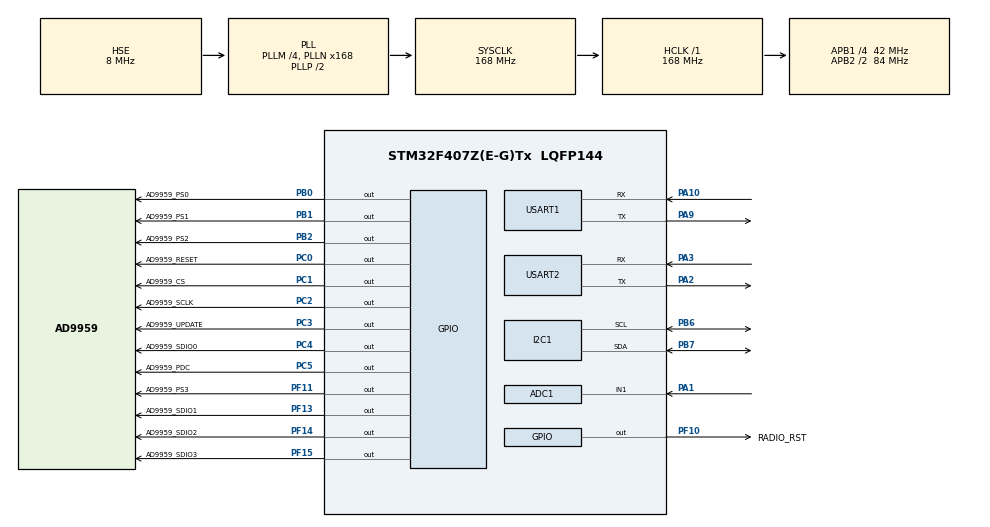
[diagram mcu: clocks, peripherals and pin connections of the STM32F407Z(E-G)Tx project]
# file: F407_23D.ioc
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ADC1.Channel-0\#ChannelRegularConversion=ADC_CHANNEL_1
ADC1.ExternalTrigConv=ADC_EXTERNALTRIGCONV_T3_TRGO
ADC1.NbrOfConversionFlag=1
ADC1.Rank-0\#ChannelRegularConversion=1
ADC1.SamplingTime-0\#ChannelRegularConversion=ADC_SAMPLETIME_3CYCLES
ADC1.master=1
Dma.ADC1.0.Direction=DMA_PERIPH_TO_MEMORY
Dma.ADC1.0.FIFOMode=DMA_FIFOMODE_DISABLE
Dma.ADC1.0.Instance=DMA2_Stream0
Dma.ADC1.0.MemDataAlignment=DMA_MDATAALIGN_HALFWORD
Dma.ADC1.0.MemInc=DMA_MINC_ENABLE
Dma.ADC1.0.Mode=DMA_NORMAL
Dma.ADC1.0.PeriphDataAlignment=DMA_PDATAALIGN_HALFWORD
Dma.ADC1.0.PeriphInc=DMA_PINC_DISABLE
Dma.ADC1.0.Priority=DMA_PRIORITY_LOW
Dma.Request0=ADC1
Mcu.Family=STM32F4
Mcu.Name=STM32F407Z(E-G)Tx
Mcu.Package=LQFP144
NVIC.DMA2_Stream0_IRQn=true\:0\:0\:false\:false\:true\:false\:true\:true
NVIC.PriorityGroup=NVIC_PRIORITYGROUP_4
NVIC.USART2_IRQn=true\:0\:0\:false\:false\:true\:true\:true\:true
PA1.Signal=ADCx_IN1
PA10.Mode=Asynchronous
PA10.Signal=USART1_RX
PA13.Mode=Serial_Wire
PA13.Signal=SYS_JTMS-SWDIO
PA14.Mode=Serial_Wire
PA14.Signal=SYS_JTCK-SWCLK
PA2.Mode=Asynchronous
PA2.Signal=USART2_TX
PA3.Mode=Asynchronous
PA3.Signal=USART2_RX
PA9.Mode=Asynchronous
PA9.Signal=USART1_TX
PB0.GPIO_Label=AD9959_PS0
PB0.GPIO_Speed=GPIO_SPEED_FREQ_VERY_HIGH
PB0.Signal=GPIO_Output
PB1.GPIO_Label=AD9959_PS1
PB1.GPIO_Speed=GPIO_SPEED_FREQ_VERY_HIGH
PB1.Signal=GPIO_Output
PB2.GPIO_Label=AD9959_PS2
PB2.GPIO_Speed=GPIO_SPEED_FREQ_VERY_HIGH
PB2.Signal=GPIO_Output
PB6.Mode=I2C
PB6.Signal=I2C1_SCL
PB7.Mode=I2C
PB7.Signal=I2C1_SDA
PC0.GPIO_Label=AD9959_RESET
PC0.GPIO_Speed=GPIO_SPEED_FREQ_VERY_HIGH
PC0.Signal=GPIO_Output
PC1.GPIO_Label=AD9959_CS
PC1.GPIO_Speed=GPIO_SPEED_FREQ_VERY_HIGH
PC1.PinState=GPIO_PIN_SET
PC1.Signal=GPIO_Output
PC14-OSC32_IN.Mode=LSE-External-Oscillator
PC14-OSC32_IN.Signal=RCC_OSC32_IN
PC15-OSC32_OUT.Mode=LSE-External-Oscillator
PC15-OSC32_OUT.Signal=RCC_OSC32_OUT
PC2.GPIO_Label=AD9959_SCLK
PC2.GPIO_Speed=GPIO_SPEED_FREQ_VERY_HIGH
PC2.Signal=GPIO_Output
PC3.GPIO_Label=AD9959_UPDATE 
PC3.GPIO_Speed=GPIO_SPEED_FREQ_VERY_HIGH
PC3.Signal=GPIO_Output
PC4.GPIO_Label=AD9959_SDIO0
PC4.GPIO_Speed=GPIO_SPEED_FREQ_VERY_HIGH
PC4.Signal=GPIO_Output
PC5.GPIO_Label=AD9959_PDC
PC5.GPIO_Speed=GPIO_SPEED_FREQ_VERY_HIGH
PC5.Signal=GPIO_Output
PF10.GPIO_Label=RADIO_RST
PF10.PinState=GPIO_PIN_SET
PF10.Signal=GPIO_Output
PF11.GPIO_Label=AD9959_PS3
PF11.GPIO_Speed=GPIO_SPEED_FREQ_VERY_HIGH
PF11.Signal=GPIO_Output
PF13.GPIO_Label=AD9959_SDIO1
PF13.GPIO_Speed=GPIO_SPEED_FREQ_VERY_HIGH
PF13.Signal=GPIO_Output
PF14.GPIO_Label=AD9959_SDIO2
PF14.GPIO_Speed=GPIO_SPEED_FREQ_VERY_HIGH
PF14.Signal=GPIO_Output
PF15.GPIO_Label=AD9959_SDIO3
PF15.GPIO_Speed=GPIO_SPEED_FREQ_VERY_HIGH
PF15.Signal=GPIO_Output
PH0-OSC_IN.Mode=HSE-External-Oscillator
PH0-OSC_IN.Signal=RCC_OSC_IN
PH1-OSC_OUT.Mode=HSE-External-Oscillator
PH1-OSC_OUT.Signal=RCC_OSC_OUT
ProjectManager.HeapSize=0x200
ProjectManager.StackSize=0x400
ProjectManager.TargetToolchain=MDK-ARM V5.32
RCC.48MHZClocksFreq_Value=84000000
RCC.AHBFreq_Value=168000000
RCC.APB1CLKDivider=RCC_HCLK_DIV4
RCC.APB1Freq_Value=42000000
RCC.APB1TimFreq_Value=84000000
RCC.APB2CLKDivider=RCC_HCLK_DIV2
RCC.APB2Freq_Value=84000000
RCC.APB2TimFreq_Value=168000000
RCC.CortexFreq_Value=168000000
RCC.HCLKFreq_Value=168000000
RCC.HSE_VALUE=8000000
RCC.HSI_VALUE=16000000
RCC.PLLM=4
RCC.PLLN=168
RCC.PLLSourceVirtual=RCC_PLLSOURCE_HSE
RCC.SYSCLKFreq_VALUE=168000000
RCC.SYSCLKSource=RCC_SYSCLKSOURCE_PLLCLK
RCC.VCOOutputFreq_Value=336000000
SH.ADCx_IN1.0=ADC1_IN1,IN1
TIM3.AutoReloadPreload=TIM_AUTORELOAD_PRELOAD_ENABLE
TIM3.Period=167
TIM3.TIM_MasterOutputTrigger=TIM_TRGO_UPDATE
USART1.VirtualMode=VM_ASYNC
USART2.VirtualMode=VM_ASYNC
VP_TIM3_VS_ClockSourceINT.Mode=Internal
board=custom

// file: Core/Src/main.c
/* USER CODE BEGIN Header */
/**
  ******************************************************************************
  * @file           : main.c
  * @brief          : Main program body
  ******************************************************************************
  * @attention
  *
  * Copyright (c) 2026 STMicroelectronics.
  * All rights reserved.
  *
  * This software is licensed under terms that can be found in the LICENSE file
  * in the root directory of this software component.
  * If no LICENSE file comes with this software, it is provided AS-IS.
  *
  ******************************************************************************
  */
/* USER CODE END Header */
#include "main.h"
#include "adc.h"
#include "dma.h"
#include "i2c.h"
#include "tim.h"
#include "usart.h"
#include "gpio.h"

/* USER CODE BEGIN Includes */
#include "si4732.h"
#include "i2c.h"
#include "myFFT.h"
#include "2023Diansai_DSP.h"
#include <stdio.h>
#include "ad9959.h"
/* USER CODE END Includes */

/* USER CODE BEGIN PV */
Si4732_Handle_t hRadio;
volatile uint8_t adc_cplt_flag = 0; // ADC/DMA采集完成标志
/* USER CODE END PV */

void SystemClock_Config(void);

int main(void)
{

  /* MCU Configuration--------------------------------------------------------*/

  /* Reset of all peripherals, Initializes the Flash interface and the Systick. */
  HAL_Init();

  /* Configure the system clock */
  SystemClock_Config();

  /* Initialize all configured peripherals */
  MX_GPIO_Init();
  MX_DMA_Init();
  MX_ADC1_Init();
  MX_TIM3_Init();
  MX_USART1_UART_Init();
  MX_USART2_UART_Init();
  MX_I2C1_Init();
  /* USER CODE BEGIN 2 */
  // 1. 初始化FFT和DSP参数 (500k采样率，16384点，3.3V量程)
  myFFT_init();

  // 2. 启动触发ADC采样的定时器(根据您的工程环境为TIM3)
  HAL_TIM_Base_Start(&htim3);
	// AD9959 Initialization and CH0 setup (86MHz, 500mVpp approx)
  ad9959_init();
	ad9959_write_frequency(AD9959_CHANNEL_3, 1900000);
  ad9959_write_amplitude(AD9959_CHANNEL_3, 1000);
  ad9959_write_frequency(AD9959_CHANNEL_0, 86000000);
  ad9959_write_amplitude(AD9959_CHANNEL_0, 1000);

  // Si4732 Initialization
  Si4732_Init(&hRadio, &hi2c1, RADIO_RST_GPIO_Port, RADIO_RST_Pin);
  Si4732_PowerUp(&hRadio, MODE_FM);
  Si4732_SetVolume(&hRadio, 63);
  Si4732_SetFrequency(&hRadio, 8800);
  /* USER CODE END 2 */

  /* Infinite loop */
  /* USER CODE BEGIN WHILE */
  while (1)
  {
    // 3. 启动一轮ADC DMA采集 (采集16384点)
    ADC_Update(1);

    // 4. 阻塞等待采集完成 (等待DMA中断回调中置位标志)
    while(adc_cplt_flag == 0)
    {
      // 可以在此执行其他非阻塞任务
    }
    adc_cplt_flag = 0; // 清除标志，准备下一轮

    // 采集完一组数据后先停止DMA，防止在处理FFT时DMA覆盖底层数据
    HAL_ADC_Stop_DMA(&hadc1);

    // 5. 执行FFT转换与特征提取 (k为校准系数 3.3V/4096)
    FFT_convert(ADC1_Val, ADC1_FFT, 8192, 1, 3.3f / 4096.0f);

    FFT_Accomplish_TAG = 1; // 标记 FFT 完成，放行调制识别算法

    // 6. 进行调制方式识别与参数估计
    u8 mod_type = Modulation_Judge();

    FFT_Accomplish_TAG = 0; // 重置标志位

    // 7. 根据题目要求通过串口打印结果
    if(mod_type != _ERR_ && mod_type != 0) {
      printf("\r\n=================================\r\n");
    }
    switch(mod_type)
    {
      case _CW_:
        printf("调制方式: CW (连续载波)\r\n");
        break;
      case _AM_:
        printf("调制方式: AM\r\n");
        printf("调制频率 F: %.1f Hz\r\n", Modem_ARR[_AM_].parameter2);
        printf("调幅系数 ma: %.3f\r\n", Modem_ARR[_AM_].parameter1);
        break;
      case _FM_:
        printf("调制方式: FM\r\n");
        printf("调制频率 F: %.1f Hz\r\n", Modem_ARR[_FM_].parameter2);
        printf("最大频偏 df_max: %.1f Hz\r\n", Modem_ARR[_FM_].parameter3);
        printf("调频系数 mf: %.3f\r\n", Modem_ARR[_FM_].parameter1);
        break;
      case _2ASK_:
        printf("调制方式: 2ASK\r\n");
        printf("码元速率 Rc: %.1f bps\r\n", Modem_ARR[_2ASK_].parameter2);
        break;
      case _2FSK_:
        printf("调制方式: 2FSK\r\n");
        printf("码元速率 Rc: %.1f bps\r\n", Modem_ARR[_2FSK_].parameter2);
        printf("移频键控系数 h: %.3f\r\n", Modem_ARR[_2FSK_].parameter1);
        break;
      case _2PSK_:
        printf("调制方式: 2PSK\r\n");
        printf("码元速率 Rc: %.1f bps\r\n", Modem_ARR[_2PSK_].parameter2);
        break;
      default:
        // 取消频繁打印“识别中”，改为打印一个点或完全略过，减少负担
        printf(".");
        break;
    }
    if(mod_type != _ERR_ && mod_type != 0) {
      printf("=================================\r\n");
    }

    // 8. 延时 (此处延时500ms防止串口刷屏过快)
    HAL_Delay(500);
    /* USER CODE END WHILE */

  }
}

void SystemClock_Config(void)
{
  RCC_OscInitTypeDef RCC_OscInitStruct = {0};
  RCC_ClkInitTypeDef RCC_ClkInitStruct = {0};

  /** Configure the main internal regulator output voltage
  */
  __HAL_RCC_PWR_CLK_ENABLE();
  __HAL_PWR_VOLTAGESCALING_CONFIG(PWR_REGULATOR_VOLTAGE_SCALE1);

  /** Initializes the RCC Oscillators according to the specified parameters
  * in the RCC_OscInitTypeDef structure.
  */
  RCC_OscInitStruct.OscillatorType = RCC_OSCILLATORTYPE_HSE;
  RCC_OscInitStruct.HSEState = RCC_HSE_ON;
  RCC_OscInitStruct.PLL.PLLState = RCC_PLL_ON;
  RCC_OscInitStruct.PLL.PLLSource = RCC_PLLSOURCE_HSE;
  RCC_OscInitStruct.PLL.PLLM = 4;
  RCC_OscInitStruct.PLL.PLLN = 168;
  RCC_OscInitStruct.PLL.PLLP = RCC_PLLP_DIV2;
  RCC_OscInitStruct.PLL.PLLQ = 4;
  if (HAL_RCC_OscConfig(&RCC_OscInitStruct) != HAL_OK)
  {
    Error_Handler();
  }

  /** Initializes the CPU, AHB and APB buses clocks
  */
  RCC_ClkInitStruct.ClockType = RCC_CLOCKTYPE_HCLK|RCC_CLOCKTYPE_SYSCLK
                              |RCC_CLOCKTYPE_PCLK1|RCC_CLOCKTYPE_PCLK2;
  RCC_ClkInitStruct.SYSCLKSource = RCC_SYSCLKSOURCE_PLLCLK;
  RCC_ClkInitStruct.AHBCLKDivider = RCC_SYSCLK_DIV1;
  RCC_ClkInitStruct.APB1CLKDivider = RCC_HCLK_DIV4;
  RCC_ClkInitStruct.APB2CLKDivider = RCC_HCLK_DIV2;

  if (HAL_RCC_ClockConfig(&RCC_ClkInitStruct, FLASH_LATENCY_5) != HAL_OK)
  {
    Error_Handler();
  }
}

/* USER CODE BEGIN 4 */
// DMA传输完成中断回调函数
void HAL_ADC_ConvCpltCallback(ADC_HandleTypeDef* hadc)
{
  // 检查是否是ADC1的DMA传输完成
  if(hadc->Instance == ADC1)
  {
    adc_cplt_flag = 1; // 置位采集完成标志
  }
}
/* USER CODE END 4 */

void Error_Handler(void)
{
  __disable_irq();
  while (1)
  {
  }
}
